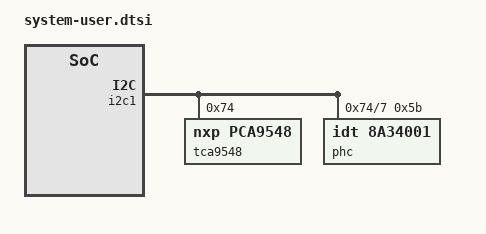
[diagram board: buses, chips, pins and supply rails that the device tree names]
/include/ "system-conf.dtsi"
/ {

	gt_pll: gt_pll@a40a0000 {
			reg = <0x0 0xa40a0000 0x0 0x10000>;
	};
	gt_ctrl_common: gt_ctrl_common@a4060000 {
			reg = <0x0 0xa4060000 0x0 0x40000>;
	};
	
	
	/delete-node/ gt_quad_base@a4010000;
	/delete-node/ gpio@a4060000;
	/delete-node/ gpio@a4070000;
	/delete-node/ gpio@a4080000;
	/delete-node/ gpio@a4090000;
	/delete-node/ gpio@a40a0000;
		
};

&mrmac_0_gt_wrapper_gt_quad_base{
	status = "disabled";

};

&amba {
        zyxclmm_drm {
                compatible = "xlnx,zocl-versal";
        };
};


&MCDMA0_axi_mcdma_0{
    compatible = "xlnx,eth-dma";
    xlnx,addrwidth = <0x20>;
    xlnx,include-dre;
};

&MCDMA1_axi_mcdma_0{
    compatible = "xlnx,eth-dma";
    xlnx,addrwidth = <0x20>;
    xlnx,include-dre;
};

&MCDMA2_axi_mcdma_0{
    compatible = "xlnx,eth-dma";
    xlnx,addrwidth = <0x20>;
    xlnx,include-dre;
};

&MCDMA3_axi_mcdma_0{
    compatible = "xlnx,eth-dma";
    xlnx,addrwidth = <0x20>;
    xlnx,include-dre;
};

&mrmac_0_core {
    axistream-connected = <&MCDMA0_axi_mcdma_0>;
    interrupt-names = "mm2s_ch1_introut", "s2mm_ch1_introut";
    interrupt-parent = <&gic>;
    interrupts = <0 84 4 0 85 4>;
    local-mac-address = [00 0a 35 00 00 00];
    xlnx,channel-ids = "1";
    xlnx,num-queues = /bits/ 16 <0x1>;
    xlnx,addrwidth = <0x20>;
    xlnx,mrmac-rate = <25000>;
    xlnx,gtpll = <&gt_pll>;
    xlnx,gtctrl = <&gt_ctrl_common>;
};

&mrmac_0_core_1 {
    axistream-connected = <&MCDMA1_axi_mcdma_0>;
    interrupt-names = "mm2s_ch1_introut", "s2mm_ch1_introut";
    interrupt-parent = <&gic>;
    interrupts = <0 86 4 0 87 4>;
    local-mac-address = [00 0a 35 00 00 01];
    xlnx,channel-ids = "1";
    xlnx,num-queues = /bits/ 16 <0x1>;
    xlnx,addrwidth = <0x20>;    
    xlnx,mrmac-rate = <25000>;
    xlnx,gtpll = <&gt_pll>;
    xlnx,gtctrl = <&gt_ctrl_common>;
};

&mrmac_0_core_2 {
    axistream-connected = <&MCDMA2_axi_mcdma_0>;
    interrupt-names = "mm2s_ch1_introut", "s2mm_ch1_introut";
    interrupt-parent = <&gic>;
    interrupts = <0 88 4 0 89 4>;
    local-mac-address = [00 0a 35 00 00 02];
    xlnx,channel-ids = "1";
    xlnx,num-queues = /bits/ 16 <0x1>;
    xlnx,addrwidth = <0x20>;
    xlnx,mrmac-rate = <25000>;
    xlnx,gtpll = <&gt_pll>;
    xlnx,gtctrl = <&gt_ctrl_common>;    
};

&mrmac_0_core_3 {
    axistream-connected = <&MCDMA3_axi_mcdma_0>;
    interrupt-names = "mm2s_ch1_introut", "s2mm_ch1_introut";
    interrupt-parent = <&gic>;
    interrupts = <0 90 4 0 91 4>;
    local-mac-address = [00 0a 35 00 00 03];
    xlnx,channel-ids = "1";
    xlnx,num-queues = /bits/ 16 <0x1>;
    xlnx,addrwidth = <0x20>;
    xlnx,mrmac-rate = <25000>;
    xlnx,gtpll = <&gt_pll>;
    xlnx,gtctrl = <&gt_ctrl_common>;
};


&i2c1{
		      tca9548@74 {
			      	compatible = "nxp,pca9548";
				#pinctrl-names = "default";
				#address-cells = <0x1>;
				#size-cells = <0x0>;
			      	reg = <0x74>;
				#i2c-mux-idle-disconnect;



			      i2c@7 {
					#address-cells = <0x1>;
					#size-cells = <0x0>;
				      	reg = <0x7>;



				      phc@5b {
					      compatible = "idt,8a34001";
					      reg = <0x5b>;
				      };
			      };
		      };
	      };




	


